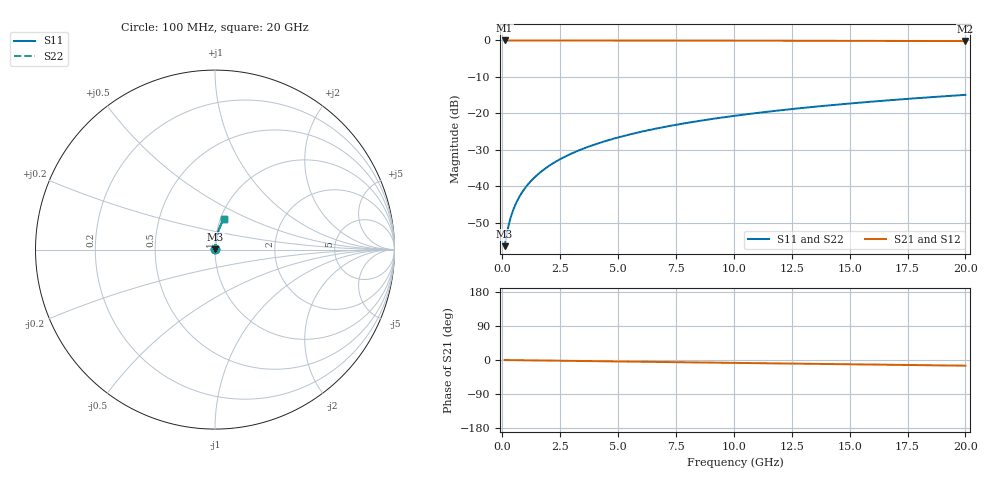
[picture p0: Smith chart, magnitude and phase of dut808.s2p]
! Touchstone file exported from HFSS 2026.1.0
!  File:  C:/ffzhzh/LocalFiles/Ansys_Project_Files/temp_train_BSMRDL_808_1783169822_22436.aedt
!  Generated:  08:58:23 PM Jul  4, 2026
!  Design:  BSMRDL
!  Project:  temp_train_BSMRDL_808_1783169822_22436
! Variables:
!  h_bsmrdl = 3.15um
!  h_ox = 20um
!  h_rdl = 5um
!  h_sub = 80um
!  h_tmrdl = 5um
!  h_tsv = 80um
!  h_via = 3um
!  l_bsmrdl = 151.83um
!  l_sub = 551.83um
!  l_tmrdl = 200um
!  m_sub = 200um
!  pitch = 53.62um
!  r_tsv = 6um
!  s_tmrdl = 10um
!  w_bsmrdl = 18.97um
!  w_sub = 500um
!  w_tmrdl = 12um
!  x_tsv_center1 = 206um
!  x_tsv_center2 = 376.8um
!  x_tsv_center3 = 588.8um
!  x_tsv_center4 = 759.6um
!  x_tsv_center5 = 971.6um
!  x_tsv_center6 = 1142.4um
# GHz S MA R 50.000000
! Terminal data exported
! Port[1] = BSM_RDL1_1_T1
! Port[2] = BSM_RDL1_1_T2
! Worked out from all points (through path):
!   200 points, 100 MHz to 20 GHz, reference 50 ohm
!   highest |S21| = -0.01 dB at 100 MHz (marker M1); lowest = -0.2 dB at 20 GHz (marker M2)
!   group delay of S21, straight-line fit = 2.08 ps
!   lowest |S11| = -56.4 dB at 100 MHz (marker M3), VSWR 1.00, Z = 50.1 + j0.0992 ohm
!   |S11| at or under -10 dB: start of sweep to end of sweep
!   |S22| runs from -56.4 to -14.9 dB; largest |S21 - S12| = 2.6e-15
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0.1  0.001509 41.0  0.9989 -0.1  0.9989 -0.1  0.001509 41.0
! Gamma 0 0 0 0
! Port Impedance 50 0 50 0
0.2  0.002291 59.3  0.9988 -0.2  0.9988 -0.2  0.002291 59.3
0.3  0.003176 67.6  0.9988 -0.2  0.9988 -0.2  0.003176 67.6
0.4  0.004086 72.1  0.9988 -0.3  0.9988 -0.3  0.004086 72.1
0.5  0.005002 74.9  0.9987 -0.4  0.9987 -0.4  0.005002 74.9
0.6  0.00592 76.9  0.9987 -0.5  0.9987 -0.5  0.00592 76.9
0.8  0.00776 79.5  0.9986 -0.6  0.9986 -0.6  0.00776 79.5
1.1  0.01053 81.6  0.9986 -0.9  0.9986 -0.9  0.01053 81.6
1.5  0.01423 83.1  0.9985 -1.2  0.9985 -1.2  0.01423 83.1
1.8  0.01702 83.7  0.9984 -1.4  0.9984 -1.4  0.01702 83.7
2.1  0.01981 84.1  0.9983 -1.6  0.9983 -1.6  0.01981 84.1
2.7  0.02539 84.4  0.9981 -2.1  0.9981 -2.1  0.02539 84.4
3.5  0.03283 84.5  0.9978 -2.7  0.9978 -2.7  0.03283 84.5
4.2  0.03932 84.3  0.9975 -3.2  0.9975 -3.2  0.03932 84.3
5  0.04672 83.9  0.9971 -3.8  0.9971 -3.8  0.04672 83.9
5.9  0.055 83.4  0.9965 -4.5  0.9965 -4.5  0.05501 83.4
6.8  0.06325 82.8  0.9958 -5.2  0.9958 -5.2  0.06325 82.8
8.3  0.0769 81.9  0.9946 -6.3  0.9946 -6.3  0.0769 81.9
10.1  0.09312 80.6  0.9929 -7.7  0.9929 -7.7  0.09312 80.6
13.4  0.1224 78.3  0.9892 -10.1  0.9892 -10.1  0.1224 78.3
16.7  0.1511 76.0  0.9848 -12.6  0.9848 -12.6  0.1511 76.0
20  0.1792 73.7  0.9797 -15.0  0.9797 -15.0  0.1792 73.7
